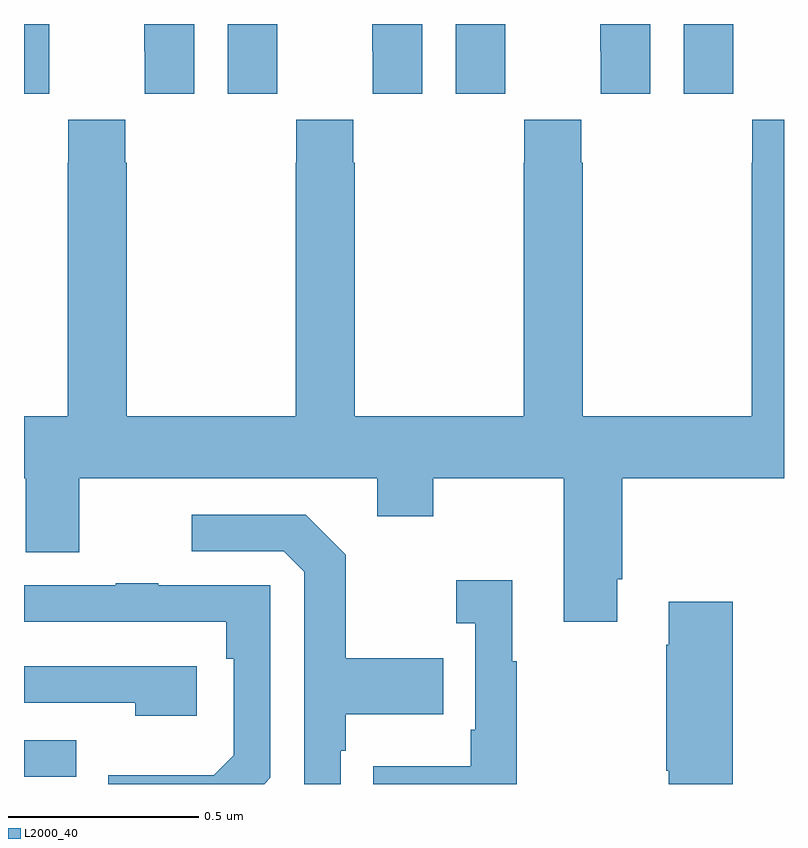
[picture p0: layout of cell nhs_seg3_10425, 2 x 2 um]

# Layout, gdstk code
import gdstk
lib = gdstk.Library(unit=1e-6, precision=1e-09)
def R(c, l, rs):  # rectangles x0, y0, x1, y1
    for r in rs: c.add(gdstk.rectangle(r[:2], r[2:], *l))
def P(c, l, *ps):  # polygons
    for p in ps: c.add(gdstk.Polygon(p, *l))
L2000_40 = (2000, 40)

nhs_seg3_10425 = lib.new_cell('nhs_seg3_10425')
R(nhs_seg3_10425, L2000_40, [(240,745.419,240.137,745.515)])
P(nhs_seg3_10425, L2000_40, [(240.448,747.4),(240.317,747.4),(240.317,747.328),(240.318,747.328),(240.318,747.216),(240.448,747.216)],
  [(240.666,747.328),(240.667,747.328),(240.667,747.4),(240.536,747.4),(240.536,747.216),(240.666,747.216)],
  [(241.048,747.4),(240.917,747.4),(240.917,747.328),(240.918,747.328),(240.918,747.216),(241.048,747.216)],
  [(241.266,747.328),(241.267,747.328),(241.267,747.4),(241.136,747.4),(241.136,747.216),(241.266,747.216)],
  [(241.648,747.4),(241.517,747.4),(241.517,747.328),(241.518,747.328),(241.518,747.216),(241.648,747.216)],
  [(241.866,747.328),(241.867,747.328),(241.867,747.4),(241.736,747.4),(241.736,747.216),(241.866,747.216)],
  [(240.066,747.328),(240.067,747.328),(240.067,747.4),(240,747.4),(240,747.216),(240.066,747.216)],
  [(241.561,745.939),(241.574,745.939),(241.574,746.204),(242,746.204),(242,747.148),(241.917,747.148),(241.917,747.035),(241.915,747.035),(241.915,746.368),(241.47,746.368),(241.47,747.035),(241.467,747.035),(241.467,747.148),(241.317,747.148),(241.317,747.035),(241.315,747.035),(241.315,746.368),(240.87,746.368),(240.87,747.035),(240.867,747.035),(240.867,747.148),(240.717,747.148),(240.717,747.035),(240.715,747.035),(240.715,746.368),(240.27,746.368),(240.27,747.035),(240.267,747.035),(240.267,747.148),(240.117,747.148),(240.117,747.035),(240.115,747.035),(240.115,746.368),(240,746.368),(240,746.204),(240.005,746.204),(240.005,746.01),(240.145,746.01),(240.145,746.204),(240.929,746.204),(240.929,746.105),(241.077,746.105),(241.077,746.204),(241.421,746.204),(241.421,745.827),(241.561,745.827)],
  [(240.834,745.487),(240.847,745.487),(240.847,745.583),(241.103,745.583),(241.103,745.731),(240.847,745.731),(240.847,746.003),(240.741,746.109),(240.441,746.109),(240.441,746.013),(240.684,746.013),(240.738,745.959),(240.738,745.4),(240.834,745.4)],
  [(241.297,745.723),(241.285,745.723),(241.285,745.936),(241.137,745.936),(241.137,745.823),(241.188,745.823),(241.188,745.543),(241.176,745.543),(241.176,745.447),(240.919,745.447),(240.919,745.4),(241.297,745.4)],
  [(240.648,745.416),(240.648,745.923),(240.353,745.923),(240.353,745.928),(240.241,745.928),(240.241,745.923),(240,745.923),(240,745.827),(240.532,745.827),(240.532,745.73),(240.552,745.73),(240.552,745.476),(240.499,745.423),(240.222,745.423),(240.222,745.4),(240.632,745.4)],
  [(241.865,745.879),(241.697,745.879),(241.697,745.766),(241.69,745.766),(241.69,745.435),(241.697,745.435),(241.697,745.4),(241.865,745.4)],
  [(240.454,745.71),(240,745.71),(240,745.614),(240.293,745.614),(240.293,745.58),(240.454,745.58)])

lib.write_gds('nhs_seg3_10425.gds')
